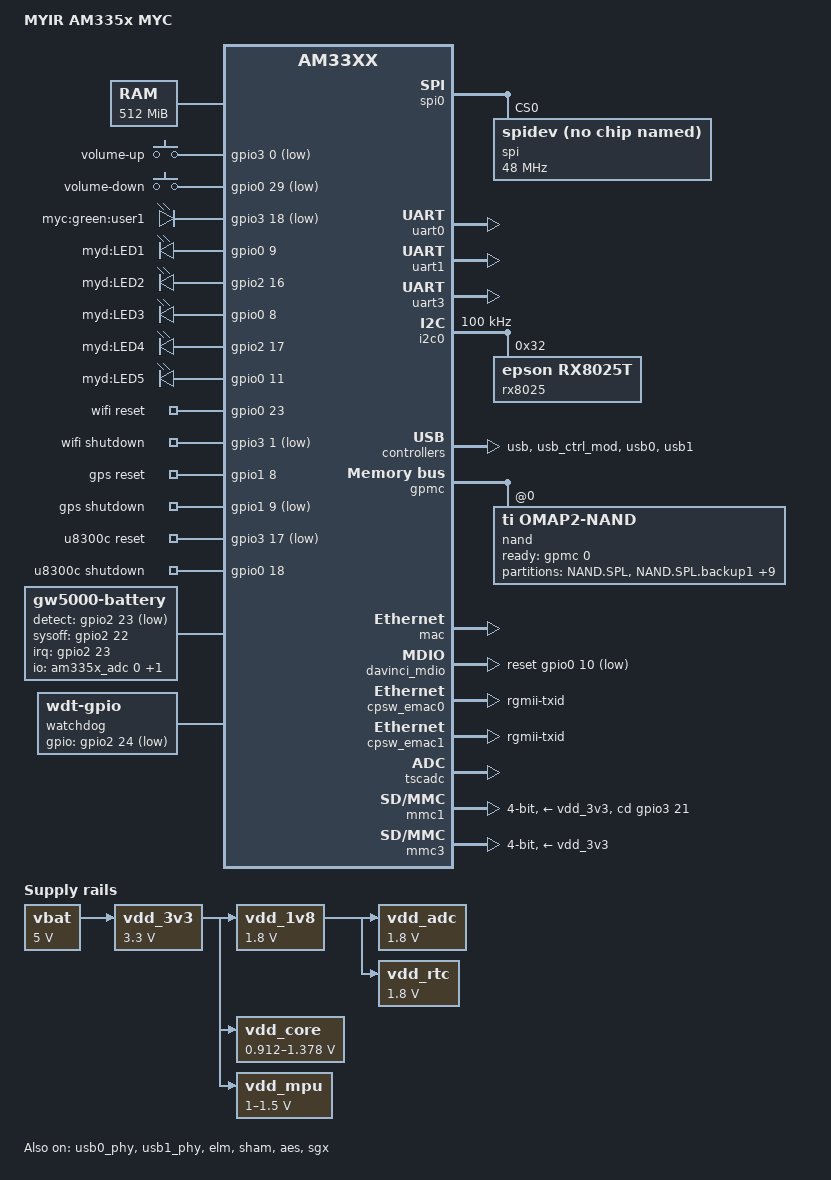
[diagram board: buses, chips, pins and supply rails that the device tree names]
/*
 * Copyright (C) 2012 Texas Instruments Incorporated - http://www.ti.com/
 *
 * This program is free software; you can redistribute it and/or modify
 * it under the terms of the GNU General Public License version 2 as
 * published by the Free Software Foundation.
 */
/dts-v1/;

#include "am33xx.dtsi"
#include <dt-bindings/interrupt-controller/irq.h>

/ {
	model = "MYIR AM335x MYC";
	compatible = "myc_c335x", "ti,am33xx";

	cpus {
		cpu@0 {
			cpu0-supply = <&vdd_core>;
		};
	};

	memory {
		device_type = "memory";
		reg = <0x80000000 0x20000000>; /* 512 MB */
	};

	vbat: fixedregulator@0 {
		compatible = "regulator-fixed";
		regulator-name = "vbat";
		regulator-min-microvolt = <5000000>;
		regulator-max-microvolt = <5000000>;
		regulator-boot-on;
		regulator-always-on;
	};
	
	vdd_3v3: fixedregulator@1{
		compatible = "regulator-fixed";
		regulator-name = "vdd_3v3";
		regulator-min-microvolt = <3300000>;
		regulator-max-microvolt = <3300000>;
		vin-supply = <&vbat>;
		regulator-boot-on;
		regulator-always-on;
		};
	
	vdd_1v8: fixedregulator@2{
		compatible = "regulator-fixed";
		regulator-name = "vdd_1v8";
		regulator-min-microvolt = <1800000>;
		regulator-max-microvolt = <1800000>;
		vin-supply = <&vdd_3v3>;
		regulator-boot-on;
		regulator-always-on;
		};
	
	vdd_core: fixedregulator@3{
		compatible = "regulator-fixed";
		regulator-name = "vdd_core";
		regulator-min-microvolt = <912500>;
                regulator-max-microvolt = <1378000>;
		vin-supply = <&vdd_3v3>;
		regulator-boot-on;
		regulator-always-on;
		};
	
	vdd_mpu: fixedregulator@4{
		compatible = "regulator-fixed";
		regulator-name = "vdd_mpu";
		regulator-min-microvolt = <1000000>;
		regulator-max-microvolt = <1500000>;
		vin-supply = <&vdd_3v3>;
		regulator-boot-on;
		regulator-always-on;
		};
	
	vdd_adc: fixedregulator@5{
		compatible = "regulator-fixed";
		regulator-name = "vdd_adc";
		regulator-min-microvolt = <1800000>;
		regulator-max-microvolt = <1800000>;
		vin-supply = <&vdd_1v8>;
		regulator-boot-on;
		regulator-always-on;
		};
	
	vdd_rtc: fixedregulator@6{
		compatible = "regulator-fixed";
		regulator-name = "vdd_rtc";
		regulator-min-microvolt = <1800000>;
		regulator-max-microvolt = <1800000>;
		vin-supply = <&vdd_1v8>;
		regulator-boot-on;
		regulator-always-on;
		};

	gpio_keys: volume_keys@0 {
		compatible = "gpio-keys";
		#address-cells = <1>;
		#size-cells = <0>;
		autorepeat;

		switch@9 {
			label = "volume-up";
			linux,code = <115>;
			gpios = <&gpio3 0 GPIO_ACTIVE_LOW>;
			gpio-key,wakeup;
		};

		switch@10 {
			label = "volume-down";
			linux,code = <114>;
			gpios = <&gpio0 29 GPIO_ACTIVE_LOW>;
			gpio-key,wakeup;
		};
	};

	gpio-leds {
		compatible = "gpio-leds";
		pinctrl-names = "default";
		pinctrl-0 = <&leds_pins>;

		D3 {
			label = "myc:green:user1";
			gpios = <&gpio3 18 GPIO_ACTIVE_LOW>;
			linux,default-trigger = "cpu0";
			default-state = "off";
		};

		LED1 {
			label = "myd:LED1";
			gpios = <&gpio0 9 GPIO_ACTIVE_HIGH>;
			default-state = "off";
		};
		
		LED2 {
			label = "myd:LED2";
			gpios = <&gpio2 16 GPIO_ACTIVE_HIGH>;
			default-state = "off";
		};

		LED3 {
			label = "myd:LED3";
			gpios = <&gpio0 8 GPIO_ACTIVE_HIGH>;
			default-state = "off";
		};
		
		LED4 {
			label = "myd:LED4";
			gpios = <&gpio2 17 GPIO_ACTIVE_HIGH>;
			default-state = "off";
		};

		LED5 {
			label = "myd:LED5";
			gpios = <&gpio0 11 GPIO_ACTIVE_HIGH>;
			default-state = "off";
		};
		
		};
	
	wifi: rfkill@0 {
		compatible = "rfkill-gpio";
		pinctrl-names = "default";
		pinctrl-0 = <&wlan_pins>;
		rfkill-name = "wifi";
		rfkill-type = <1>;
		reset-gpios = <&gpio0 23 GPIO_ACTIVE_HIGH>;
		shutdown-gpios = <&gpio3 1 GPIO_ACTIVE_LOW>;
		reset-delay-us = <300000>;
	};	
/*		
	lora: rfkill@1 {
		compatible = "rfkill-gpio";
		pinctrl-names = "default";
		pinctrl-0 = <&lora_pins>;
		rfkill-name = "lora";
		rfkill-type = <8>;
		reset-gpios = <&gpio3 14 GPIO_ACTIVE_HIGH>;
		shutdown-gpios = <&gpio3 15 GPIO_ACTIVE_HIGH>;
		reset-delay-us = <300000>;
	};
*/
	gps: rfkill@2 {
		compatible = "rfkill-gpio";
		pinctrl-names = "default";
		pinctrl-0 = <&gps_pins>;
		rfkill-name = "gps";
		rfkill-type = <6>;
 		reset-gpios = <&gpio1 8 GPIO_ACTIVE_HIGH>;
		shutdown-gpios = <&gpio1 9 GPIO_ACTIVE_LOW>;
		reset-delay-us = <300000>;
	};

	u8300c: rfkill@3 {
		compatible = "rfkill-gpio";
		pinctrl-names = "default";
		pinctrl-0 = <&u8300c_pins>;
		rfkill-name = "uwb";
		rfkill-type = <3>;
		reset-gpios = <&gpio3 17 GPIO_ACTIVE_LOW>;
		shutdown-gpios = <&gpio0 18 GPIO_ACTIVE_HIGH>;
		reset-delay-us = <300000>;
	};

	battery: gw5000-battery {
		compatible = "gw5000-battery";
		pinctrl-names = "default";
		pinctrl-0 = <&battery_pins>;		
		io-channels = <&am335x_adc 0>,<&am335x_adc 1>;
		io-channel-names="vbat", "test";
		detect-gpios = <&gpio2 23 GPIO_ACTIVE_LOW>;
		sysoff-gpios = <&gpio2 22 GPIO_ACTIVE_HIGH>;
		low-battery-poweroff = <1>;
		interrupt-parent = <&gpio2>;
		interrupts = <23 IRQ_TYPE_EDGE_BOTH>;
		vref = <1720>;
		minVolt = <6400>;
		maxVolt = <8400>;
		};
		
	watchdog: watchdog {
		/* CAT823T */
		compatible = "linux,wdt-gpio";
		pinctrl-names = "default";
		pinctrl-0 = <&watchdog_pins>;
		gpios = <&gpio2 24 GPIO_ACTIVE_LOW>;
		hw_algo = "toggle";
		always-running;
		hw_margin_ms = <1000>;
	};
		
};


&am33xx_pinmux {
	pinctrl-names = "default";
	pinctrl-0 = <&volume_keys_s0>;

	volume_keys_s0: volume_keys_s0 {
		pinctrl-single,pins = <
			0x108 (PIN_INPUT_PULLDOWN | MUX_MODE7)	/* (H16) gmii1_col.gpio3[0] */
			0x144 (PIN_INPUT | MUX_MODE7 ) /* (H18) rmii1_refclk.gpio0[29] */
		>;
	};

	wlan_pins: pinmux_wlan_pins {
		pinctrl-single,pins = <
			0x10c (PIN_OUTPUT_PULLDOWN  | MUX_MODE7)	/* WLAN_PWR  .gpio3_1 */
			0x24 (PIN_OUTPUT | MUX_MODE7)	/* WLAN_RESET gpmc_ad9.gpio0_23 */
		>;
	};

	lora_pins: pinmux_lora_pins {
		pinctrl-single,pins = <
			0x190 (PIN_OUTPUT_PULLUP | MUX_MODE7)	/* LORA_RESET  gpio3_14 */
			0x194 (PIN_OUTPUT  | MUX_MODE7)		/* LORA_PWR  gpio3_15 */
		>;	
		};

	gps_pins: pinmux_gps_pins {
		pinctrl-single,pins = <
			0x168 (PIN_OUTPUT | MUX_MODE7)	/*  */
			0x16c (PIN_OUTPUT | MUX_MODE7)		/*  */
		>;	
		};	

	u8300c_pins: pinmux_u8300c_pins {
		pinctrl-single,pins = <
			0x21c (PIN_OUTPUT_PULLUP  | MUX_MODE7)	/*  */
			0x19c (PIN_OUTPUT_PULLUP  | MUX_MODE7)		/*  */
		>;	
		};	

	usbhub_pins: pinmux_usbhub_pins {
		pinctrl-single,pins = <
			0x234 (PIN_OUTPUT | MUX_MODE7)
		>;
	};

	battery_pins: pinmux_battery_pins{
		pinctrl-single,pins = <
			0xE0 (PIN_OUTPUT | MUX_MODE7)
			0xE4 (PIN_INPUT_PULLUP | MUX_MODE7)
		>;
		};

	watchdog_pins: pinmux_watchdog_pins{
		pinctrl-single,pins = <0xE8 (PIN_OUTPUT_PULLDOWN | MUX_MODE7)>;
	};

	leds_pins: pinmux_leds_pins {
		pinctrl-single,pins = <
			0x1A0 (PIN_OUTPUT_PULLDOWN | MUX_MODE7)
			0xDC (PIN_OUTPUT_PULLDOWN | MUX_MODE7)
			0xD4 (PIN_OUTPUT_PULLDOWN | MUX_MODE7)
			0xD0 (PIN_OUTPUT_PULLDOWN | MUX_MODE7)
			0xCC (PIN_OUTPUT_PULLDOWN | MUX_MODE7)
			0xC8 (PIN_OUTPUT_PULLDOWN | MUX_MODE7)
		>;
	};
	
	i2c0_pins: pinmux_i2c0_pins {
		pinctrl-single,pins = <
			0x188 (PIN_INPUT_PULLUP | MUX_MODE0)	/* i2c0_sda.i2c0_sda */
			0x18c (PIN_INPUT_PULLUP | MUX_MODE0)	/* i2c0_scl.i2c0_scl */
		>;
	};
	
	spi0_pins_default: spi0_pins_default {
		pinctrl-single,pins = <
			0x150 (PIN_INPUT_PULLUP  | MUX_MODE0) /* (A17) spi0_sclk.spi0_sclk */
			0x154  (PIN_INPUT_PULLUP  | MUX_MODE0) /* (B17) spi0_d0.spi0_d0 */
			0x158 (PIN_INPUT_PULLUP  | MUX_MODE0) /* (B16) spi0_d1.spi0_d1 */
			0x15c  (PIN_INPUT_PULLUP  | MUX_MODE0) /* (A16) spi0_cs0.spi0_cs0 */
		>;
	};
	
	spi0_pins_sleep: spi0_pins_sleep {
		pinctrl-single,pins = <
			0x150 (PIN_INPUT_PULLDOWN | MUX_MODE7)	/* spi0_sclk.spi0_sclk */
			0x154 (PIN_INPUT_PULLDOWN | MUX_MODE7)	/* spi0_d0.spi0_d0 */
			0x158 (PIN_INPUT_PULLDOWN | MUX_MODE7)	/* spi0_d1.spi0_d1 */
			0x15c (PIN_INPUT_PULLDOWN | MUX_MODE7)	/* spi0_cs0.spi0_cs0 */
		>;
	};

	uart0_pins: pinmux_uart0_pins {
		pinctrl-single,pins = <
			0x170 (PIN_INPUT_PULLUP | MUX_MODE0)	/* uart0_rxd.uart0_rxd */
			0x174 (PIN_OUTPUT_PULLDOWN | MUX_MODE0)	/* uart0_txd.uart0_txd */
		>;
	};

    uart1_pins_default: pinmux_uart1_pins_default {
          pinctrl-single,pins = <
                0x180 (PIN_INPUT_PULLUP | MUX_MODE0)    /* uart1_rxd.uart1_rxd */
                0x184 (PIN_OUTPUT_PULLDOWN | MUX_MODE0)         /* uart1_txd.uart1_txd */
                >;
        };

    uart1_pins_sleep: pinmux_uart1_pins_sleep {
          pinctrl-single,pins = <
                0x180 (PIN_INPUT_PULLDOWN | MUX_MODE7)
                0x184 (PIN_INPUT_PULLDOWN | MUX_MODE7)
                >;
        };
        
	uart3_pins: pinmux_uart3_pins {
		pinctrl-single,pins = <
			0x160 (PIN_INPUT_PULLUP | MUX_MODE1)	/* uart3_rxd.uart03_rxd */
			0x164 (PIN_OUTPUT_PULLDOWN | MUX_MODE1)	/* uart03_txd.uart3_txd */
		>;
	};


	nandflash_pins_default: nandflash_pins_default {
		pinctrl-single,pins = <
			0x0 (PIN_INPUT_PULLUP | MUX_MODE0)	/* gpmc_ad0.gpmc_ad0 */
			0x4 (PIN_INPUT_PULLUP | MUX_MODE0)	/* gpmc_ad1.gpmc_ad1 */
			0x8 (PIN_INPUT_PULLUP | MUX_MODE0)	/* gpmc_ad2.gpmc_ad2 */
			0xc (PIN_INPUT_PULLUP | MUX_MODE0)	/* gpmc_ad3.gpmc_ad3 */
			0x10 (PIN_INPUT_PULLUP | MUX_MODE0)	/* gpmc_ad4.gpmc_ad4 */
			0x14 (PIN_INPUT_PULLUP | MUX_MODE0)	/* gpmc_ad5.gpmc_ad5 */
			0x18 (PIN_INPUT_PULLUP | MUX_MODE0)	/* gpmc_ad6.gpmc_ad6 */
			0x1c (PIN_INPUT_PULLUP | MUX_MODE0)	/* gpmc_ad7.gpmc_ad7 */
			0x70 (PIN_INPUT_PULLUP | MUX_MODE0)	/* gpmc_wait0.gpmc_wait0 */
			0x74 (PIN_INPUT_PULLUP | MUX_MODE7)	/* gpmc_wpn.gpio0_30 */
			0x7c (PIN_OUTPUT | MUX_MODE0)		/* gpmc_csn0.gpmc_csn0  */
			0x90 (PIN_OUTPUT | MUX_MODE0)		/* gpmc_advn_ale.gpmc_advn_ale */
			0x94 (PIN_OUTPUT | MUX_MODE0)		/* gpmc_oen_ren.gpmc_oen_ren */
			0x98 (PIN_OUTPUT | MUX_MODE0)		/* gpmc_wen.gpmc_wen */
			0x9c (PIN_OUTPUT | MUX_MODE0)		/* gpmc_be0n_cle.gpmc_be0n_cle */
		>;
	};

	nandflash_pins_sleep: nandflash_pins_sleep {
		pinctrl-single,pins = <
			0x0 (PIN_INPUT_PULLDOWN | MUX_MODE7)
			0x4 (PIN_INPUT_PULLDOWN | MUX_MODE7)
			0x8 (PIN_INPUT_PULLDOWN | MUX_MODE7)
			0xc (PIN_INPUT_PULLDOWN | MUX_MODE7)
			0x10 (PIN_INPUT_PULLDOWN | MUX_MODE7)
			0x14 (PIN_INPUT_PULLDOWN | MUX_MODE7)
			0x18 (PIN_INPUT_PULLDOWN | MUX_MODE7)
			0x1c (PIN_INPUT_PULLDOWN | MUX_MODE7)
			0x70 (PIN_INPUT_PULLDOWN | MUX_MODE7)
			0x74 (PIN_INPUT_PULLDOWN | MUX_MODE7)
			0x7c (PIN_INPUT_PULLDOWN | MUX_MODE7)
			0x90 (PIN_INPUT_PULLDOWN | MUX_MODE7)
			0x94 (PIN_INPUT_PULLDOWN | MUX_MODE7)
			0x98 (PIN_INPUT_PULLDOWN | MUX_MODE7)
			0x9c (PIN_INPUT_PULLDOWN | MUX_MODE7)
		>;
	};


	cpsw_default: cpsw_default {
		pinctrl-single,pins = <
			/* Slave 1 */
			0x114 (PIN_OUTPUT_PULLDOWN | MUX_MODE2)	/* mii1_txen.rgmii1_tctl */
			0x118 (PIN_INPUT_PULLDOWN | MUX_MODE2)	/* mii1_rxdv.rgmii1_rctl */
			0x11c (PIN_OUTPUT_PULLDOWN | MUX_MODE2)	/* mii1_txd3.rgmii1_td3 */
			0x120 (PIN_OUTPUT_PULLDOWN | MUX_MODE2)	/* mii1_txd2.rgmii1_td2 */
			0x124 (PIN_OUTPUT_PULLDOWN | MUX_MODE2)	/* mii1_txd1.rgmii1_td1 */
			0x128 (PIN_OUTPUT_PULLDOWN | MUX_MODE2)	/* mii1_txd0.rgmii1_td0 */
			0x12c (PIN_OUTPUT_PULLDOWN | MUX_MODE2)	/* mii1_txclk.rgmii1_tclk */
			0x130 (PIN_INPUT_PULLDOWN | MUX_MODE2)	/* mii1_rxclk.rgmii1_rclk */
			0x134 (PIN_INPUT_PULLDOWN | MUX_MODE2)	/* mii1_rxd3.rgmii1_rd3 */
			0x138 (PIN_INPUT_PULLDOWN | MUX_MODE2)	/* mii1_rxd2.rgmii1_rd2 */
			0x13c (PIN_INPUT_PULLDOWN | MUX_MODE2)	/* mii1_rxd1.rgmii1_rd1 */
			0x140 (PIN_INPUT_PULLDOWN | MUX_MODE2)	/* mii1_rxd0.rgmii1_rd0 */
		/* Slave 2 */
	 		0x40  (MUX_MODE2 | PIN_OUTPUT_PULLDOWN)  /* gpmc_a0.rgmii2_tctl */
			0x44  (MUX_MODE2 | PIN_INPUT_PULLDOWN) /* gpmc_a1.rgmii2_rctl */
			0x48  (MUX_MODE2 | PIN_OUTPUT_PULLDOWN) /* gpmc_a2.rgmii2_td3 */
			0x4c  (MUX_MODE2 | PIN_OUTPUT_PULLDOWN) /* gpmc_a3.rgmii2_td2 */
			0x50  (MUX_MODE2 | PIN_OUTPUT_PULLDOWN) /* gpmc_a4.rgmii2_td1 */
			0x54  (MUX_MODE2 | PIN_OUTPUT_PULLDOWN) /* gpmc_a5.rgmii2_td0 */
			0x58  (MUX_MODE2 | PIN_OUTPUT_PULLDOWN) /* gpmc_a6.rgmii2_tclk */
			0x5c  (MUX_MODE2 | PIN_INPUT_PULLDOWN) /* gpmc_a7.rgmii2_rclk */
			0x60  (MUX_MODE2 | PIN_INPUT_PULLDOWN) /* gpmc_a8.rgmii2_rd3 */
			0x64  (MUX_MODE2 | PIN_INPUT_PULLDOWN) /* gpmc_a9.rgmii2_rd2 */
			0x68  (MUX_MODE2 | PIN_INPUT_PULLDOWN) /* gpmc_a10.rgmii2_rd1 */
			0x6c  (MUX_MODE2 | PIN_INPUT_PULLDOWN) /* gpmc_a11.rgmii2_rd0 */
			0xd8  (PIN_OUTPUT_PULLUP | MUX_MODE7)  /* eth2 reset */
		>;
	};

	cpsw_sleep: cpsw_sleep {
		pinctrl-single,pins = <
			/* Slave 1 reset value */
			0x114 (PIN_INPUT_PULLDOWN | MUX_MODE7)
			0x118 (PIN_INPUT_PULLDOWN | MUX_MODE7)
			0x11c (PIN_INPUT_PULLDOWN | MUX_MODE7)
			0x120 (PIN_INPUT_PULLDOWN | MUX_MODE7)
			0x124 (PIN_INPUT_PULLDOWN | MUX_MODE7)
			0x128 (PIN_INPUT_PULLDOWN | MUX_MODE7)
			0x12c (PIN_INPUT_PULLDOWN | MUX_MODE7)
			0x130 (PIN_INPUT_PULLDOWN | MUX_MODE7)
			0x134 (PIN_INPUT_PULLDOWN | MUX_MODE7)
			0x138 (PIN_INPUT_PULLDOWN | MUX_MODE7)
			0x13c (PIN_INPUT_PULLDOWN | MUX_MODE7)
			0x140 (PIN_INPUT_PULLDOWN | MUX_MODE7)
		/* Slave 2 reset value */
	 		0x40  (PIN_INPUT_PULLDOWN | MUX_MODE7)  /* gpmc_a0.rgmii2_tctl */
			0x44  (PIN_INPUT_PULLDOWN | MUX_MODE7) /* gpmc_a1.rgmii2_rctl */
			0x48  (PIN_INPUT_PULLDOWN | MUX_MODE7) /* gpmc_a2.rgmii2_td3 */
			0x4c  (PIN_INPUT_PULLDOWN | MUX_MODE7) /* gpmc_a3.rgmii2_td2 */
			0x50  (PIN_INPUT_PULLDOWN | MUX_MODE7) /* gpmc_a4.rgmii2_td1 */
			0x54  (PIN_INPUT_PULLDOWN | MUX_MODE7) /* gpmc_a5.rgmii2_td0 */
			0x58  (PIN_INPUT_PULLDOWN | MUX_MODE7) /* gpmc_a6.rgmii2_tclk */
			0x5c  (PIN_INPUT_PULLDOWN | MUX_MODE7) /* gpmc_a7.rgmii2_rclk */
			0x60  (PIN_INPUT_PULLDOWN | MUX_MODE7) /* gpmc_a8.rgmii2_rd3 */
			0x64  (PIN_INPUT_PULLDOWN | MUX_MODE7) /* gpmc_a9.rgmii2_rd2 */
			0x68  (PIN_INPUT_PULLDOWN | MUX_MODE7) /* gpmc_a10.rgmii2_rd1 */
			0x6c  (PIN_INPUT_PULLDOWN | MUX_MODE7) /* gpmc_a11.rgmii2_rd0 */
			0xd8  (PIN_INPUT_PULLDOWN | MUX_MODE7)  /* eth2 reset */
		>;
	};

	davinci_mdio_default: davinci_mdio_default {
		pinctrl-single,pins = <
			/* MDIO */
			0x148 (PIN_INPUT_PULLUP | SLEWCTRL_FAST | MUX_MODE0)	/* mdio_data.mdio_data */
			0x14c (PIN_OUTPUT_PULLUP | MUX_MODE0)			/* mdio_clk.mdio_clk */
		>;
	};

	davinci_mdio_sleep: davinci_mdio_sleep {
		pinctrl-single,pins = <
			/* MDIO reset value */
			0x148 (PIN_INPUT_PULLDOWN | MUX_MODE7)
			0x14c (PIN_INPUT_PULLDOWN | MUX_MODE7)
		>;
	};

	mmc1_pins_default: pinmux_mmc1_pins {
		pinctrl-single,pins = <
			0x0F0 (PIN_INPUT_PULLUP | MUX_MODE0)    /* mmc0_dat3.mmc0_dat3 */
			0x0F4 (PIN_INPUT_PULLUP | MUX_MODE0)    /* mmc0_dat2.mmc0_dat2 */
			0x0F8 (PIN_INPUT_PULLUP | MUX_MODE0)    /* mmc0_dat1.mmc0_dat1 */
			0x0FC (PIN_INPUT_PULLUP | MUX_MODE0)    /* mmc0_dat0.mmc0_dat0 */
			0x100 (PIN_INPUT_PULLUP | MUX_MODE0)    /* mmc0_clk.mmc0_clk */
			0x104 (PIN_INPUT_PULLUP | MUX_MODE0)    /* mmc0_cmd.mmc0_cmd */
			0x1AC (PIN_INPUT_PULLUP | MUX_MODE7)    /* mcasp0_ahclkx.gpio3_21 */
	//		0x164 (PIN_INPUT_PULLUP | MUX_MODE7)    /* mcasp0_ahclkx.gpio3_21 */
			
		>;
	};

	mmc1_pins_sleep: pinmux_mmc1_pins_sleep {
		pinctrl-single,pins = <
			0x0F0 (PIN_INPUT_PULLDOWN | MUX_MODE7)
			0x0F4 (PIN_INPUT_PULLDOWN | MUX_MODE7)
			0x0F8 (PIN_INPUT_PULLDOWN | MUX_MODE7)
			0x0FC (PIN_INPUT_PULLDOWN | MUX_MODE7)
			0x100 (PIN_INPUT_PULLDOWN | MUX_MODE7)
			0x104 (PIN_INPUT_PULLDOWN | MUX_MODE7)
			0x1AC (PIN_INPUT_PULLDOWN | MUX_MODE7)
	//		0x164 (PIN_INPUT_PULLDOWN | MUX_MODE7)    /* mcasp0_ahclkx.gpio3_21 */
		>;
	};

	mmc3_pins: pinmux_mmc3_pins {
		pinctrl-single,pins = <
			0x30 (PIN_INPUT_PULLUP | MUX_MODE3)	/* gpmc_a12.mmc2_dat0, INPUT_PULLUP | MODE3 */
			0x34 (PIN_INPUT_PULLUP | MUX_MODE3)	/* gpmc_a13.mmc2_dat1, INPUT_PULLUP | MODE3 */
			0x38 (PIN_INPUT_PULLUP | MUX_MODE3)	/* gpmc_a14.mmc2_dat2, INPUT_PULLUP | MODE3 */
			0x3c (PIN_INPUT_PULLUP | MUX_MODE3)	/* gpmc_a15.mmc2_dat3, INPUT_PULLUP | MODE3 */
			0x88 (PIN_INPUT_PULLUP | MUX_MODE3)	/* gpmc_csn3.mmc2_cmd, INPUT_PULLUP | MODE3 */
			0x8C (PIN_INPUT_PULLUP | MUX_MODE3)	/* gpmc_clk.mmc2_clk, INPUT_PULLUP | MODE3 */
		>;
	};

};

&spi0 {
    status = "okay";
	pinctrl-names = "default", "sleep";
	pinctrl-0 = <&spi0_pins_default>;
	pinctrl-1 = <&spi0_pins_sleep>;
	ti,pindir-d0-in-d1-out =<1>;

	spi@0 {
		compatible = "rohm,dh2228fv";
		spi-max-frequency = <48000000>;
		reg = <0x0>;
	};
};

&uart0 {
	pinctrl-names = "default";
	pinctrl-0 = <&uart0_pins>;

	status = "okay";
};


&uart1 {
	pinctrl-names = "default", "sleep";
	pinctrl-0 = <&uart1_pins_default>;
	pinctrl-1 = <&uart1_pins_sleep>;
	status = "okay";
};

&uart3 {
	pinctrl-names = "default";
	pinctrl-0 = <&uart3_pins>;

	status = "okay";
};

&i2c0 {
	pinctrl-names = "default";
	pinctrl-0 = <&i2c0_pins>;

	status = "okay";
	clock-frequency = <100000>;

	rx8025: rx8025@32 {
		compatible = "epson,rx8025t";
		reg = <0x32>;
	};

	
};

&usb {
	status = "okay";
};

&usb_ctrl_mod {
	status = "okay";
};

&usb0_phy {
	status = "okay";
	dr_mode = "host";
	pinctrl-names = "default";
	pinctrl-0 = <&usbhub_pins>;
	reset-gpios = <&gpio3 13 GPIO_ACTIVE_HIGH>;
};

&usb1_phy {
	status = "okay";
	dr_mode = "host";
};

&usb0 {
	status = "okay";
};

&usb1 {
	status = "okay";
};

&cppi41dma  {
	status = "okay";
};

&elm {
	status = "okay";
};


&gpmc {
	status = "okay";
	pinctrl-names = "default", "sleep";
	pinctrl-0 = <&nandflash_pins_default>;
	pinctrl-1 = <&nandflash_pins_sleep>;
	ranges = <0 0 0x08000000 0x1000000>;	/* CS0: 16MB for NAND */
	nand@0,0 {
		compatible = "ti,omap2-nand";
		reg = <0 0 4>; /* CS0, offset 0, IO size 4 */
		interrupt-parent = <&intc>;
		interrupts = <100>;
		ready-gpio = <&gpmc 0 GPIO_ACTIVE_HIGH>; /* gpmc_wait0 */
		ti,nand-ecc-opt = "bch8";
		ti,elm-id = <&elm>;
		nand-bus-width = <8>;
		gpmc,device-width = <1>;
		gpmc,sync-clk-ps = <0>;
		gpmc,cs-on-ns = <0>;
		gpmc,cs-rd-off-ns = <44>;
		gpmc,cs-wr-off-ns = <44>;
		gpmc,adv-on-ns = <6>;
		gpmc,adv-rd-off-ns = <34>;
		gpmc,adv-wr-off-ns = <44>;
		gpmc,we-on-ns = <0>;
		gpmc,we-off-ns = <40>;
		gpmc,oe-on-ns = <0>;
		gpmc,oe-off-ns = <54>;
		gpmc,access-ns = <64>;
		gpmc,rd-cycle-ns = <82>;
		gpmc,wr-cycle-ns = <82>;
		gpmc,bus-turnaround-ns = <0>;
		gpmc,cycle2cycle-delay-ns = <0>;
		gpmc,clk-activation-ns = <0>;
		gpmc,wr-access-ns = <40>;
		gpmc,wr-data-mux-bus-ns = <0>;
		/* MTD partition table */
		/* All SPL-* partitions are sized to minimal length
		 * which can be independently programmable. For
		 * NAND flash this is equal to size of erase-block */
		#address-cells = <1>;
		#size-cells = <1>;
		partition@0 {
			label = "NAND.SPL";
			reg = <0x00000000 0x000020000>;
		};
		partition@1 {
			label = "NAND.SPL.backup1";
			reg = <0x00020000 0x00020000>;
		};
		partition@2 {
			label = "NAND.SPL.backup2";
			reg = <0x00040000 0x00020000>;
		};
		partition@3 {
			label = "NAND.SPL.backup3";
			reg = <0x00060000 0x00020000>;
		};
		partition@4 {
			label = "NAND.u-boot-spl-os";
			reg = <0x00080000 0x00040000>;
		};
		partition@5 {
			label = "NAND.u-boot";
			reg = <0x000C0000 0x00100000>;
		};
		partition@6 {
			label = "NAND.u-boot-env";
			reg = <0x001C0000 0x00020000>;
		};
		partition@7 {
			label = "NAND.u-boot-env.backup1";
			reg = <0x001E0000 0x00020000>;
		};
		partition@8 {
			label = "NAND.kernel";
			reg = <0x00200000 0x00800000>;
		};
		partition@9 {
			label = "NAND.rootfs";
			reg = <0x00A00000 0x07600000>;
		};
		partition@10 {
			label = "NAND.userdata";
			reg = <0x08000000 0x08000000>;
		};		
	};
};

&mac {
	slaves = <2>;
	pinctrl-names = "default", "sleep";
	pinctrl-0 = <&cpsw_default>;
	pinctrl-1 = <&cpsw_sleep>;
	dual_emac = <1>;
//	active_slave = <1>;
	status = "okay";
};

&davinci_mdio {
	pinctrl-names = "default", "sleep";
	pinctrl-0 = <&davinci_mdio_default>;
	pinctrl-1 = <&davinci_mdio_sleep>;
	reset-gpios = <&gpio0 10 GPIO_ACTIVE_LOW>;
	reset-delay-us = <3000>;
	status = "okay";
};

&cpsw_emac0 {
	phy_id = <&davinci_mdio>, <0>;
	phy-mode = "rgmii-txid";
	mac-address=[12 23 34 45 56 67];
	dual_emac_res_vlan=<2>;
};

&cpsw_emac1 {
	phy_id = <&davinci_mdio>, <6>;
	phy-mode = "rgmii-txid";
	mac-address=[22 32 43 54 65 76];
	dual_emac_res_vlan=<3>;
};

&tscadc {
	status = "okay";
	tsc {
		status = "disabled";
	};

	adc {
		ti,adc-channels = <0 1>;
	};
};

&mmc1 {
	status = "okay";
	vmmc-supply = <&vdd_3v3>;
	bus-width = <4>;
	pinctrl-names = "default", "sleep";
	pinctrl-0 = <&mmc1_pins_default>;
	pinctrl-1 = <&mmc1_pins_sleep>;
	cd-gpios = <&gpio3 21 GPIO_ACTIVE_HIGH>;
//	wp-gpios = <&gpio0 7 GPIO_ACTIVE_HIGH>;
};

&mmc3 {
	/* these are on the crossbar and are outlined in the
	   xbar-event-map element */
	dmas = <&edma_xbar 12 0 1
		&edma_xbar 13 0 2>;
	dma-names = "tx", "rx";
	status = "okay";
	vmmc-supply = <&vdd_3v3>;
	bus-width = <4>;
	max-frequency = <25000000>;
	pinctrl-names = "default";
	pinctrl-0 = <&mmc3_pins>;
	ti,non-removable;
	ti,needs-special-hs-handling;
	cap-power-off-card;
	keep-power-in-suspend;
	};

&sham {
	status = "okay";
};

&aes {
	status = "okay";
};

&wkup_m3_ipc {
	ti,scale-data-fw = "am335x-evm-scale-data.bin";
};

//&rtc {
//	system-power-controller;
//};

&sgx {
	status = "okay";
};
